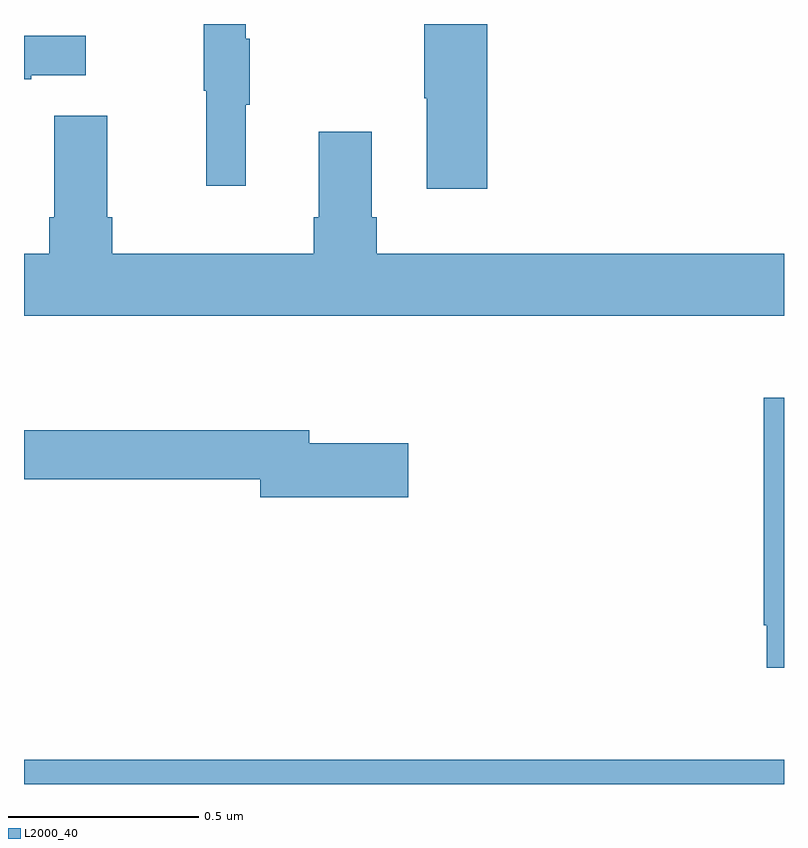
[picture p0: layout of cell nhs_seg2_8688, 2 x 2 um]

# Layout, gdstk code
import gdstk
lib = gdstk.Library(unit=1e-6, precision=1e-09)
def R(c, l, rs):  # rectangles x0, y0, x1, y1
    for r in rs: c.add(gdstk.rectangle(r[:2], r[2:], *l))
def P(c, l, *ps):  # polygons
    for p in ps: c.add(gdstk.Polygon(p, *l))
L2000_40 = (2000, 40)

nhs_seg2_8688 = lib.new_cell('nhs_seg2_8688')
R(nhs_seg2_8688, L2000_40, [(220,583.8,222,583.864)])
P(nhs_seg2_8688, L2000_40, [(221.219,585.8),(221.053,585.8),(221.053,585.604),(221.06,585.604),(221.06,585.366),(221.219,585.366)],
  [(220.583,585.587),(220.594,585.587),(220.594,585.761),(220.583,585.761),(220.583,585.8),(220.473,585.8),(220.473,585.624),(220.48,585.624),(220.48,585.375),(220.583,585.375)],
  [(220.019,585.665),(220.162,585.665),(220.162,585.769),(220,585.769),(220,585.655),(220.019,585.655)],
  [(222,585.196),(220.928,585.196),(220.928,585.292),(220.915,585.292),(220.915,585.517),(220.775,585.517),(220.775,585.292),(220.763,585.292),(220.763,585.196),(220.232,585.196),(220.232,585.292),(220.219,585.292),(220.219,585.559),(220.079,585.559),(220.079,585.292),(220.067,585.292),(220.067,585.196),(220,585.196),(220,585.032),(222,585.032)],
  [(222,584.816),(221.947,584.816),(221.947,584.218),(221.955,584.218),(221.955,584.106),(222,584.106)],
  [(221.011,584.697),(220.75,584.697),(220.75,584.731),(220,584.731),(220,584.602),(220.622,584.602),(220.622,584.555),(221.011,584.555)])

lib.write_gds('nhs_seg2_8688.gds')
